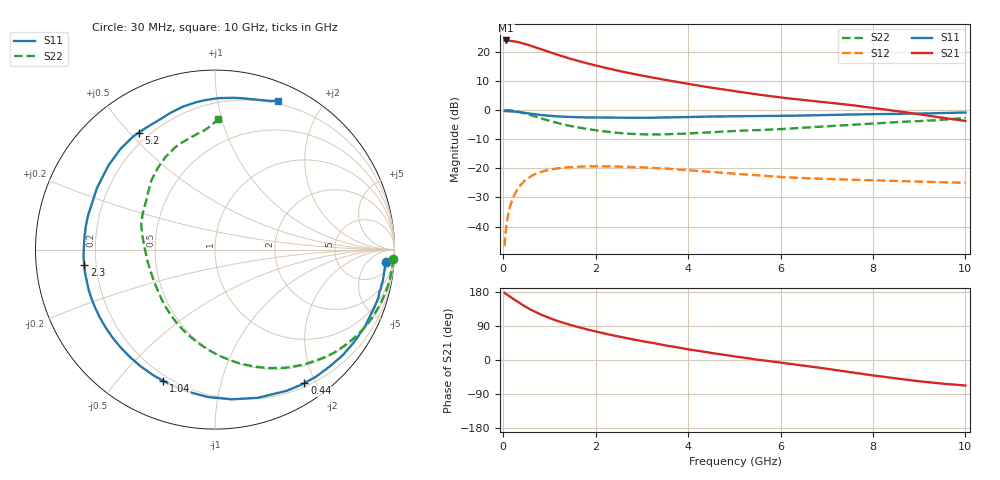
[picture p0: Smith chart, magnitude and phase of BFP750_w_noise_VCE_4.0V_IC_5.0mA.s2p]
! Infineon Technologies  Discrete & RF Semiconductors
! BFP750
! VCE =  4.0 V,  IC =  5.0 mA
! Common Emitter S-Parameters:  Jan 2016
# GHz  S  MA  R  50
!  f  S11  S21  S12  S22
! GHz  MAG  ANG  MAG  ANG  MAG  ANG  MAG  ANG
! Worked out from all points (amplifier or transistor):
!   229 points, 30 MHz to 10 GHz, reference 50 ohm
!   highest |S21| = 23.8 dB at 60 MHz (marker M1)
!   |S21| within 3 dB of that: start of sweep to 817.5 MHz
!   unconditionally stable (mu >= 1): 5.597 GHz to end of sweep
!   at 280 MHz: K = 0.06, MSG = 25.7 dB, |S12| = -28.0 dB
!   at 1.78 GHz: K = 0.25, MSG = 17.8 dB, |S12| = -19.4 dB
!   at 10 GHz: K = 1.27, MAG = 7.5 dB, |S12| = -25.0 dB
!   lowest NFmin = 0.59 dB at 450 MHz
!   S11 on the Smith chart (normalised r, x): 30 MHz: 13, -20; 440 MHz: 0.25, -1.85; 1.04 GHz: 0.17, -0.67; 2.3 GHz: 0.15, -0.06; 5.2 GHz: 0.16, +0.53; 10 GHz: 0.17, +1.50
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0.03  0.9536 -4.0  15.35 177.2  0.0046 80.5  0.993 -2.9
0.06  0.9507 -7.9  15.47 174.5  0.0091 82.3  0.9923 -5.7
0.15  0.9442 -20.1  15.29 166.9  0.0221 76.8  0.9795 -14.3
0.3  0.9238 -39.5  14.63 154.4  0.0425 66.1  0.9376 -28.0
0.44  0.895 -56.2  13.72 143.6  0.0585 56.4  0.8816 -40.0
0.6  0.8598 -73.7  12.53 132.5  0.0728 46.6  0.8101 -52.3
0.7  0.8395 -83.6  11.79 126.3  0.0799 41.2  0.7653 -59.4
0.9  0.806 -100.9  10.39 115.5  0.0903 31.8  0.6841 -72.0
1.04  0.7858 -111.5  9.525 108.9  0.0953 26.2  0.6353 -79.9
1.2  0.7713 -122.5  8.664 102.0  0.0997 20.6  0.5881 -88.3
1.4  0.757 -134.3  7.734 94.4  0.1033 14.5  0.54 -97.7
1.7  0.7448 -149.5  6.635 84.4  0.1065 6.7  0.486 -110.4
2  0.7388 -162.3  5.759 75.3  0.1077 0.0  0.4472 -121.8
2.3  0.7334 -173.5  5.062 67.1  0.1072 -5.9  0.4164 -132.4
2.8  0.7315 170.7  4.157 54.5  0.1048 -14.4  0.3866 -149.1
3.4  0.737 155.0  3.377 41.2  0.0995 -22.9  0.3794 -166.9
4  0.7565 141.7  2.79 28.1  0.0927 -30.0  0.3937 177.8
5.1  0.7772 124.6  2.041 7.9  0.0794 -37.9  0.4374 159.5
5.2  0.7773 123.2  1.987 6.3  0.0784 -38.4  0.44 158.0
6.8  0.8094 104.8  1.392 -19.7  0.0661 -41.9  0.5109 135.0
8.4  0.8512 83.5  0.979 -47.0  0.0606 -43.9  0.6097 111.7
10  0.9008 67.0  0.646 -67.4  0.0563 -44.7  0.7264 88.6
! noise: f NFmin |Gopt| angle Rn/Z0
0.45  0.59  0.43  1  0.13
0.9  0.61  0.36  29  0.13
1.5  0.68  0.26  71  0.11
1.9  0.74  0.25  97  0.07
2.4  0.84  0.25  127  0.1
3.5  1.23  0.3  174  0.08
